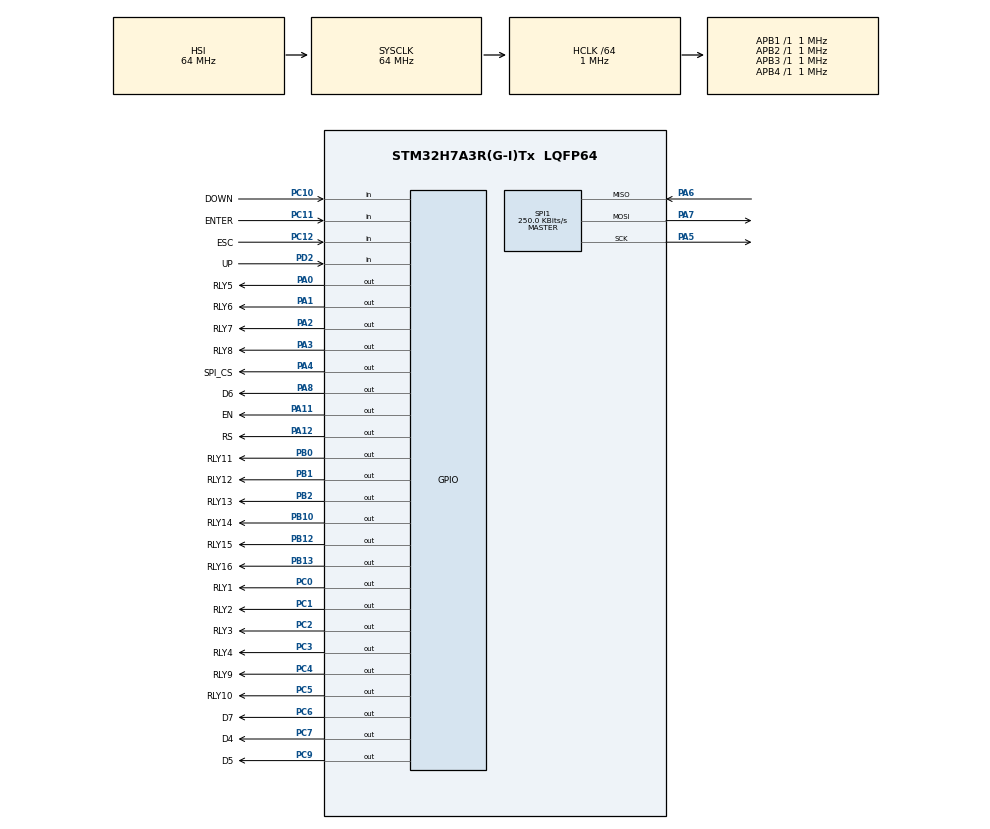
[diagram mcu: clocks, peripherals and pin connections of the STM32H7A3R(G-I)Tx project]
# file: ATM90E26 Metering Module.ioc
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CORTEX_M7.default_mode_Activation=1
Mcu.Family=STM32H7
Mcu.Name=STM32H7A3R(G-I)Tx
Mcu.Package=LQFP64
NVIC.PriorityGroup=NVIC_PRIORITYGROUP_4
PA0.GPIO_Label=RLY5
PA0.Signal=GPIO_Output
PA1.GPIO_Label=RLY6
PA1.Signal=GPIO_Output
PA11.GPIO_Label=EN
PA11.GPIO_Speed=GPIO_SPEED_FREQ_LOW
PA11.Signal=GPIO_Output
PA12.GPIO_Label=RS
PA12.GPIO_Speed=GPIO_SPEED_FREQ_LOW
PA12.Signal=GPIO_Output
PA13.Mode=Serial_Wire
PA13.Signal=DEBUG_JTMS-SWDIO
PA14.Mode=Serial_Wire
PA14.Signal=DEBUG_JTCK-SWCLK
PA2.GPIO_Label=RLY7
PA2.Signal=GPIO_Output
PA3.GPIO_Label=RLY8
PA3.Signal=GPIO_Output
PA4.GPIO_Label=SPI_CS
PA4.GPIO_Speed=GPIO_SPEED_FREQ_VERY_HIGH
PA4.PinState=GPIO_PIN_RESET
PA4.Signal=GPIO_Output
PA5.Mode=Full_Duplex_Master
PA5.Signal=SPI1_SCK
PA6.Mode=Full_Duplex_Master
PA6.Signal=SPI1_MISO
PA7.Mode=Full_Duplex_Master
PA7.Signal=SPI1_MOSI
PA8.GPIO_Label=D6
PA8.GPIO_Speed=GPIO_SPEED_FREQ_LOW
PA8.Signal=GPIO_Output
PB0.GPIO_Label=RLY11
PB0.Signal=GPIO_Output
PB1.GPIO_Label=RLY12
PB1.Signal=GPIO_Output
PB10.GPIO_Label=RLY14
PB10.Signal=GPIO_Output
PB12.GPIO_Label=RLY15
PB12.Signal=GPIO_Output
PB13.GPIO_Label=RLY16
PB13.Signal=GPIO_Output
PB2.GPIO_Label=RLY13
PB2.Signal=GPIO_Output
PC0.GPIO_Label=RLY1
PC0.Signal=GPIO_Output
PC1.GPIO_Label=RLY2
PC1.Signal=GPIO_Output
PC10.GPIO_Label=DOWN
PC10.GPIO_PuPd=GPIO_PULLUP
PC10.Signal=GPIO_Input
PC11.GPIO_Label=ENTER
PC11.GPIO_PuPd=GPIO_PULLUP
PC11.Signal=GPIO_Input
PC12.GPIO_Label=ESC
PC12.GPIO_PuPd=GPIO_PULLUP
PC12.Signal=GPIO_Input
PC2.GPIO_Label=RLY3
PC2.Signal=GPIO_Output
PC3.GPIO_Label=RLY4
PC3.Signal=GPIO_Output
PC4.GPIO_Label=RLY9
PC4.Signal=GPIO_Output
PC5.GPIO_Label=RLY10
PC5.Signal=GPIO_Output
PC6.GPIO_Label=D7
PC6.GPIO_Speed=GPIO_SPEED_FREQ_LOW
PC6.Signal=GPIO_Output
PC7.GPIO_Label=D4
PC7.GPIO_Speed=GPIO_SPEED_FREQ_LOW
PC7.Signal=GPIO_Output
PC9.GPIO_Label=D5
PC9.Signal=GPIO_Output
PD2.GPIO_Label=UP
PD2.GPIO_PuPd=GPIO_PULLUP
PD2.Signal=GPIO_Input
ProjectManager.HeapSize=0x200
ProjectManager.StackSize=0x400
ProjectManager.TargetToolchain=STM32CubeIDE
RCC.ADCFreq_Value=129000000
RCC.APB1Freq_Value=1000000
RCC.APB2Freq_Value=1000000
RCC.APB3Freq_Value=1000000
RCC.APB4Freq_Value=1000000
RCC.CDCPRE=RCC_SYSCLK_DIV64
RCC.CortexFreq_Value=1000000
RCC.DIVM1=4
RCC.DIVN1=8
RCC.HCLKFreq_Value=1000000
RCC.PLL2FRACN=0
RCC.PLL3FRACN=0
RCC.PLLFRACN=0
RCC.SYSCLKFreq_VALUE=64000000
RCC.USBFreq_Value=64000000
SPI1.BaudRatePrescaler=SPI_BAUDRATEPRESCALER_256
SPI1.CLKPhase=SPI_PHASE_2EDGE
SPI1.CLKPolarity=SPI_POLARITY_HIGH
SPI1.CalculateBaudRate=250.0 KBits/s
SPI1.DataSize=SPI_DATASIZE_8BIT
SPI1.Direction=SPI_DIRECTION_2LINES
SPI1.Mode=SPI_MODE_MASTER
SPI1.NSSPMode=SPI_NSS_PULSE_DISABLE
SPI1.VirtualType=VM_MASTER
VP_MEMORYMAP_VS_MEMORYMAP.Mode=CurAppReg
board=custom

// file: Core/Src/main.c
/* USER CODE BEGIN Header */
/**
  ******************************************************************************
  * @file           : main.c
  * @brief          : Main program body
  ******************************************************************************
  * @attention
  *
  * Copyright (c) 2026 STMicroelectronics.
  * All rights reserved.
  *
  * This software is licensed under terms that can be found in the LICENSE file
  * in the root directory of this software component.
  * If no LICENSE file comes with this software, it is provided AS-IS.
  *
  ******************************************************************************
  */
/* USER CODE END Header */
#include "main.h"

/* USER CODE BEGIN Includes */
#include "20x4_LCD.h"
#include "ATM90E26_Metering.h"
/* USER CODE END Includes */

/* USER CODE BEGIN PD */
// Calculate how many items are in the menu automatically
#define MENU_SIZE (sizeof(menuItems) / sizeof(menuItems[0]))
/* USER CODE END PD */

SPI_HandleTypeDef hspi1;

/* USER CODE BEGIN PV */

							/*======= System Error Indicating Variable =======*/

uint16_t System_Status;

							/*======= Register Read Variables =======*/

float vRMS;
float iRMS;
float Freq;
float Apparent_Power;
float Aprt_Pwr;
uint16_t rawPF;
uint16_t  lPF;
float Reactive_Power;
float Ract_Pwr;
float Active_Power;
float Act_Pwr;
int16_t Phase_Angle;
float signedPF;
char line[32];
float scaling_factor;

									/*======= Checksum Variables =======*/

uint16_t cs1 = 0;		// Explicite CheckSum1 Calculation
uint16_t cs2 = 0;		// Explicite CheckSum1 Calculation
uint16_t CS1 = 0;		// Implicite CheckSum1 Calculation
uint16_t CS2 = 0;		// Implicite CheckSum2 Calculation

								/*======= Function Variables for Debug =======*/

uint8_t rx_buf[3] = {0};
volatile char line2[30] = {0};
volatile char line1[30] = {0};

								/*======= Checksum Calculation Arrays =======*/

uint16_t meteringBlock[11] = {PLconstH, PLconstL, Lgain, 0x0000, 0x0000, 0x0000, 0x08BD, 0x0000, 0x0AEC, 0x0000, 0x9422};
uint16_t measurementBlock[10] = {0x6720, IgainL, 0x7530, 0x0000, IoffsetL, 0x0000, 0x0000, 0x0000, 0x0000, 0x0000};

								/* ===== Keypad Variables ===== */
typedef enum {
    STATE_WELCOME,
    STATE_MENU,
    STATE_LIVE_DATA
} SystemState_t;
uint8_t x = 0;           // Bitmask (0000)
uint8_t key = 0;		// Maseked Reciever
SystemState_t currentState = STATE_WELCOME;
int cursorLine = 0; // 0 to 3 for our 4 menu items
const char *menuItems[] = {
    "RMS Data",
    "PF & Frequency",
    "Ang & Apparent",
    "Act/React Power"
};

uint8_t updateDisplay = 1; // Start with 1 to draw the first time
static uint32_t lastUpdate = 0;

/* USER CODE END PV */

void SystemClock_Config(void);
static void MPU_Config(void);
static void MX_GPIO_Init(void);
static void MX_SPI1_Init(void);
/* USER CODE BEGIN PFP */
void   ATM90E26_Init();
/* USER CODE END PFP */

int main(void)
{

  /* MPU Configuration--------------------------------------------------------*/
  MPU_Config();

  /* MCU Configuration--------------------------------------------------------*/

  /* Reset of all peripherals, Initializes the Flash interface and the Systick. */
  HAL_Init();

  /* Configure the system clock */
  SystemClock_Config();

  /* Initialize all configured peripherals */
  MX_GPIO_Init();
  MX_SPI1_Init();
  /* USER CODE BEGIN 2 */
  HAL_Delay(100);
  LCD_Init();

 LCD_SetCursor(0,5);
 LCD_Print("Welcome,");
 LCD_SetCursor(1,2);
 LCD_Print("System Online!");
 LCD_SetCursor(2, 4);
 LCD_Print("~ Vaishnav");
 HAL_Delay(2000);
  LCD_Clear();
  currentState = STATE_MENU;

  ATM90E26_Init();

  ATM90E26_Metering_Enable();

  ATM90E26_Mesurement_Enable();

  x = 0x00; // Start with the first bit set (Line 0)
  updateDisplay = 1;
  /* USER CODE END 2 */

  /* Infinite loop */
  /* USER CODE BEGIN WHILE */
  while (1)
  {
	  //HAL_Delay(1000);
	  ATM90_Get_Values();

	  if(currentState == STATE_MENU) {

		          if (updateDisplay == 1) {
		        	  LCD_SendCommand(0x0F);		// Command: Display ON, Cursor ON, Blinking ON
		              Display_20x4_Menu();

		              LCD_SetCursor(cursorLine, 0);
		              updateDisplay = 0;
		          }
		          key = Keypad_Read();

		          switch(key)
		          {
		              case 0x0E:   // UP
		            	  cursorLine = (cursorLine == 0) ? 3 : cursorLine - 1;
		              	  updateDisplay = 1;
		                  break;

		              case 0x0D:   // DOWN
		            	  cursorLine = (cursorLine + 1) % 4;
		              	  updateDisplay = 1;
		                  break;

		              case 0x0B:   // ENTER
		              	currentState = STATE_LIVE_DATA;
		              	LCD_Clear();
		                  break;

		              case 0x07:   // ESC
		                  currentState = STATE_MENU;
		                  updateDisplay = 1;
		                  LCD_Clear();
		                  break;
		          }
	  }
	  else if(currentState == STATE_LIVE_DATA) {
		    key = Keypad_Read();

		    if(key == 0x07)        // ESC pressed
		    {
		        currentState = STATE_MENU;
		        updateDisplay = 1;
		        LCD_Clear();
		    }

	        /* ======= 3. DISPLAY LIVE VALUES ======= */

	        	  LCD_SendCommand(0x0C); // Blinking OFF in live Data
		          if (HAL_GetTick() - lastUpdate > 500) {
		              Display_Live_Values(cursorLine);
		              lastUpdate = HAL_GetTick();
		          }
	    	}

    /* USER CODE END WHILE */

  }
}

void SystemClock_Config(void)
{
  RCC_OscInitTypeDef RCC_OscInitStruct = {0};
  RCC_ClkInitTypeDef RCC_ClkInitStruct = {0};

  /*AXI clock gating */
  RCC->CKGAENR = 0xE003FFFF;

  /** Supply configuration update enable
  */
  HAL_PWREx_ConfigSupply(PWR_LDO_SUPPLY);

  /** Configure the main internal regulator output voltage
  */
  __HAL_PWR_VOLTAGESCALING_CONFIG(PWR_REGULATOR_VOLTAGE_SCALE3);

  while(!__HAL_PWR_GET_FLAG(PWR_FLAG_VOSRDY)) {}

  /** Initializes the RCC Oscillators according to the specified parameters
  * in the RCC_OscInitTypeDef structure.
  */
  RCC_OscInitStruct.OscillatorType = RCC_OSCILLATORTYPE_HSI;
  RCC_OscInitStruct.HSIState = RCC_HSI_DIV1;
  RCC_OscInitStruct.HSICalibrationValue = 64;
  RCC_OscInitStruct.PLL.PLLState = RCC_PLL_ON;
  RCC_OscInitStruct.PLL.PLLSource = RCC_PLLSOURCE_HSI;
  RCC_OscInitStruct.PLL.PLLM = 4;
  RCC_OscInitStruct.PLL.PLLN = 8;
  RCC_OscInitStruct.PLL.PLLP = 2;
  RCC_OscInitStruct.PLL.PLLQ = 2;
  RCC_OscInitStruct.PLL.PLLR = 2;
  RCC_OscInitStruct.PLL.PLLRGE = RCC_PLL1VCIRANGE_3;
  RCC_OscInitStruct.PLL.PLLVCOSEL = RCC_PLL1VCOWIDE;
  RCC_OscInitStruct.PLL.PLLFRACN = 0;
  if (HAL_RCC_OscConfig(&RCC_OscInitStruct) != HAL_OK)
  {
    Error_Handler();
  }

  /** Initializes the CPU, AHB and APB buses clocks
  */
  RCC_ClkInitStruct.ClockType = RCC_CLOCKTYPE_HCLK|RCC_CLOCKTYPE_SYSCLK
                              |RCC_CLOCKTYPE_PCLK1|RCC_CLOCKTYPE_PCLK2
                              |RCC_CLOCKTYPE_D3PCLK1|RCC_CLOCKTYPE_D1PCLK1;
  RCC_ClkInitStruct.SYSCLKSource = RCC_SYSCLKSOURCE_HSI;
  RCC_ClkInitStruct.SYSCLKDivider = RCC_SYSCLK_DIV64;
  RCC_ClkInitStruct.AHBCLKDivider = RCC_HCLK_DIV1;
  RCC_ClkInitStruct.APB3CLKDivider = RCC_APB3_DIV1;
  RCC_ClkInitStruct.APB1CLKDivider = RCC_APB1_DIV1;
  RCC_ClkInitStruct.APB2CLKDivider = RCC_APB2_DIV1;
  RCC_ClkInitStruct.APB4CLKDivider = RCC_APB4_DIV1;

  if (HAL_RCC_ClockConfig(&RCC_ClkInitStruct, FLASH_LATENCY_0) != HAL_OK)
  {
    Error_Handler();
  }
}

static void MX_SPI1_Init(void)
{

  /* SPI1 parameter configuration*/
  hspi1.Instance = SPI1;
  hspi1.Init.Mode = SPI_MODE_MASTER;
  hspi1.Init.Direction = SPI_DIRECTION_2LINES;
  hspi1.Init.DataSize = SPI_DATASIZE_8BIT;
  hspi1.Init.CLKPolarity = SPI_POLARITY_HIGH;
  hspi1.Init.CLKPhase = SPI_PHASE_2EDGE;
  hspi1.Init.NSS = SPI_NSS_SOFT;
  hspi1.Init.BaudRatePrescaler = SPI_BAUDRATEPRESCALER_256;
  hspi1.Init.FirstBit = SPI_FIRSTBIT_MSB;
  hspi1.Init.TIMode = SPI_TIMODE_DISABLE;
  hspi1.Init.CRCCalculation = SPI_CRCCALCULATION_DISABLE;
  hspi1.Init.CRCPolynomial = 0x0;
  hspi1.Init.NSSPMode = SPI_NSS_PULSE_DISABLE;
  hspi1.Init.NSSPolarity = SPI_NSS_POLARITY_LOW;
  hspi1.Init.FifoThreshold = SPI_FIFO_THRESHOLD_01DATA;
  hspi1.Init.TxCRCInitializationPattern = SPI_CRC_INITIALIZATION_ALL_ZERO_PATTERN;
  hspi1.Init.RxCRCInitializationPattern = SPI_CRC_INITIALIZATION_ALL_ZERO_PATTERN;
  hspi1.Init.MasterSSIdleness = SPI_MASTER_SS_IDLENESS_00CYCLE;
  hspi1.Init.MasterInterDataIdleness = SPI_MASTER_INTERDATA_IDLENESS_00CYCLE;
  hspi1.Init.MasterReceiverAutoSusp = SPI_MASTER_RX_AUTOSUSP_DISABLE;
  hspi1.Init.MasterKeepIOState = SPI_MASTER_KEEP_IO_STATE_DISABLE;
  hspi1.Init.IOSwap = SPI_IO_SWAP_DISABLE;
  if (HAL_SPI_Init(&hspi1) != HAL_OK)
  {
    Error_Handler();
  }

}

static void MX_GPIO_Init(void)
{
  GPIO_InitTypeDef GPIO_InitStruct = {0};

  /* GPIO Ports Clock Enable */
  __HAL_RCC_GPIOC_CLK_ENABLE();
  __HAL_RCC_GPIOA_CLK_ENABLE();
  __HAL_RCC_GPIOB_CLK_ENABLE();
  __HAL_RCC_GPIOD_CLK_ENABLE();

  /*Configure GPIO pin Output Level */
  HAL_GPIO_WritePin(GPIOC, RLY1_Pin|RLY2_Pin|RLY3_Pin|RLY4_Pin
                          |RLY9_Pin|RLY10_Pin|D7_Pin|D4_Pin
                          |D5_Pin, GPIO_PIN_RESET);

  /*Configure GPIO pin Output Level */
  HAL_GPIO_WritePin(GPIOA, RLY5_Pin|RLY6_Pin|RLY7_Pin|RLY8_Pin
                          |SPI_CS_Pin|D6_Pin|EN_Pin|RS_Pin, GPIO_PIN_RESET);

  /*Configure GPIO pin Output Level */
  HAL_GPIO_WritePin(GPIOB, RLY11_Pin|RLY12_Pin|RLY13_Pin|RLY14_Pin
                          |RLY15_Pin|RLY16_Pin, GPIO_PIN_RESET);

  /*Configure GPIO pins : RLY1_Pin RLY2_Pin RLY3_Pin RLY4_Pin
                           RLY9_Pin RLY10_Pin D7_Pin D4_Pin
                           D5_Pin */
  GPIO_InitStruct.Pin = RLY1_Pin|RLY2_Pin|RLY3_Pin|RLY4_Pin
                          |RLY9_Pin|RLY10_Pin|D7_Pin|D4_Pin
                          |D5_Pin;
  GPIO_InitStruct.Mode = GPIO_MODE_OUTPUT_PP;
  GPIO_InitStruct.Pull = GPIO_NOPULL;
  GPIO_InitStruct.Speed = GPIO_SPEED_FREQ_LOW;
  HAL_GPIO_Init(GPIOC, &GPIO_InitStruct);

  /*Configure GPIO pins : RLY5_Pin RLY6_Pin RLY7_Pin RLY8_Pin
                           D6_Pin EN_Pin RS_Pin */
  GPIO_InitStruct.Pin = RLY5_Pin|RLY6_Pin|RLY7_Pin|RLY8_Pin
                          |D6_Pin|EN_Pin|RS_Pin;
  GPIO_InitStruct.Mode = GPIO_MODE_OUTPUT_PP;
  GPIO_InitStruct.Pull = GPIO_NOPULL;
  GPIO_InitStruct.Speed = GPIO_SPEED_FREQ_LOW;
  HAL_GPIO_Init(GPIOA, &GPIO_InitStruct);

  /*Configure GPIO pin : SPI_CS_Pin */
  GPIO_InitStruct.Pin = SPI_CS_Pin;
  GPIO_InitStruct.Mode = GPIO_MODE_OUTPUT_PP;
  GPIO_InitStruct.Pull = GPIO_NOPULL;
  GPIO_InitStruct.Speed = GPIO_SPEED_FREQ_VERY_HIGH;
  HAL_GPIO_Init(SPI_CS_GPIO_Port, &GPIO_InitStruct);

  /*Configure GPIO pins : RLY11_Pin RLY12_Pin RLY13_Pin RLY14_Pin
                           RLY15_Pin RLY16_Pin */
  GPIO_InitStruct.Pin = RLY11_Pin|RLY12_Pin|RLY13_Pin|RLY14_Pin
                          |RLY15_Pin|RLY16_Pin;
  GPIO_InitStruct.Mode = GPIO_MODE_OUTPUT_PP;
  GPIO_InitStruct.Pull = GPIO_NOPULL;
  GPIO_InitStruct.Speed = GPIO_SPEED_FREQ_LOW;
  HAL_GPIO_Init(GPIOB, &GPIO_InitStruct);

  /*Configure GPIO pins : DOWN_Pin ENTER_Pin ESC_Pin */
  GPIO_InitStruct.Pin = DOWN_Pin|ENTER_Pin|ESC_Pin;
  GPIO_InitStruct.Mode = GPIO_MODE_INPUT;
  GPIO_InitStruct.Pull = GPIO_PULLUP;
  HAL_GPIO_Init(GPIOC, &GPIO_InitStruct);

  /*Configure GPIO pin : UP_Pin */
  GPIO_InitStruct.Pin = UP_Pin;
  GPIO_InitStruct.Mode = GPIO_MODE_INPUT;
  GPIO_InitStruct.Pull = GPIO_PULLUP;
  HAL_GPIO_Init(UP_GPIO_Port, &GPIO_InitStruct);

  /*AnalogSwitch Config */
  HAL_SYSCFG_AnalogSwitchConfig(SYSCFG_SWITCH_PC2, SYSCFG_SWITCH_PC2_CLOSE);

  /*AnalogSwitch Config */
  HAL_SYSCFG_AnalogSwitchConfig(SYSCFG_SWITCH_PC3, SYSCFG_SWITCH_PC3_CLOSE);

  /*AnalogSwitch Config */
  HAL_SYSCFG_AnalogSwitchConfig(SYSCFG_SWITCH_PA0, SYSCFG_SWITCH_PA0_CLOSE);

  /*AnalogSwitch Config */
  HAL_SYSCFG_AnalogSwitchConfig(SYSCFG_SWITCH_PA1, SYSCFG_SWITCH_PA1_CLOSE);

}

 /* MPU Configuration */

void MPU_Config(void)
{
  MPU_Region_InitTypeDef MPU_InitStruct = {0};

  /* Disables the MPU */
  HAL_MPU_Disable();

  /** Initializes and configures the Region and the memory to be protected
  */
  MPU_InitStruct.Enable = MPU_REGION_ENABLE;
  MPU_InitStruct.Number = MPU_REGION_NUMBER0;
  MPU_InitStruct.BaseAddress = 0x0;
  MPU_InitStruct.Size = MPU_REGION_SIZE_4GB;
  MPU_InitStruct.SubRegionDisable = 0x87;
  MPU_InitStruct.TypeExtField = MPU_TEX_LEVEL0;
  MPU_InitStruct.AccessPermission = MPU_REGION_NO_ACCESS;
  MPU_InitStruct.DisableExec = MPU_INSTRUCTION_ACCESS_DISABLE;
  MPU_InitStruct.IsShareable = MPU_ACCESS_SHAREABLE;
  MPU_InitStruct.IsCacheable = MPU_ACCESS_NOT_CACHEABLE;
  MPU_InitStruct.IsBufferable = MPU_ACCESS_NOT_BUFFERABLE;

  HAL_MPU_ConfigRegion(&MPU_InitStruct);
  /* Enables the MPU */
  HAL_MPU_Enable(MPU_PRIVILEGED_DEFAULT);

}

void Error_Handler(void)
{
  __disable_irq();
  while (1)
  {
  }
}
